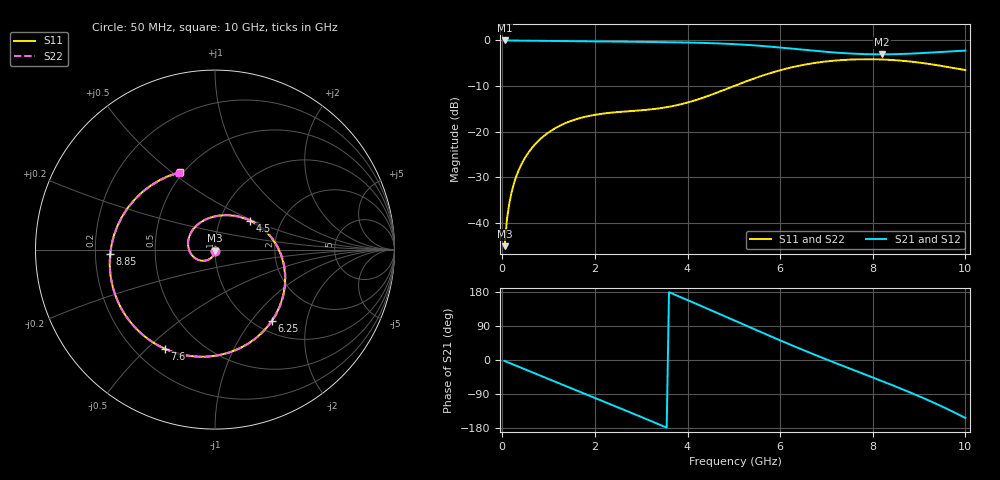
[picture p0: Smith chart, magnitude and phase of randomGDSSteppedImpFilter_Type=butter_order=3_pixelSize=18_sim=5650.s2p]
! freq	dB(S11)	phase(S11)	dB(S12)	phase(S12)
!  dB(S21)	phase(S21)	dB(S22)	phase(S22)
!S-par simulation data
#  GHz  S  DB  R 50
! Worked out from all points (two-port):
!   200 points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, 50 MHz to 10 GHz, reference 50 ohm
!   highest |S21| = 0.00 dB at 50 MHz (marker M1); lowest = -3.0 dB at 8.2 GHz (marker M2)
!   |S21| within 3 dB of the highest: start of sweep to 7.853 GHz; 8.522 GHz to end of sweep
!   lowest |S11| = -45.1 dB at 50 MHz (marker M3), VSWR 1.01, Z = 50 - j0.555 ohm
!   |S11| at or under -10 dB: start of sweep to 5.002 GHz
!   |S22| runs from -45.1 to -4.1 dB; largest |S21 - S12| = 0
!   S11 on the Smith chart (normalised r, x): 50 MHz: 1.00, -0.01; 4.5 GHz: 1.38, +0.48; 6.25 GHz: 1.19, -1.27; 7.6 GHz: 0.32, -0.57; 8.85 GHz: 0.26, -0.02; 10 GHz: 0.48, +0.53
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0.05  -45.11 -90.0  -0.00 -2.6  -0.00 -2.6  -45.11 -90.0
0.1  -39.25 -93.6  -0.01 -5.1  -0.01 -5.1  -39.25 -93.5
0.2  -33.33 -99.6  -0.02 -10.1  -0.02 -10.1  -33.33 -99.5
0.5  -25.58 -115.6  -0.05 -25.1  -0.05 -25.1  -25.58 -115.5
1.15  -19.20 -148.7  -0.12 -57.6  -0.12 -57.6  -19.20 -148.4
1.75  -16.83 -178.8  -0.19 -87.4  -0.19 -87.4  -16.83 -178.3
2.5  -15.70 143.4  -0.27 -124.9  -0.27 -124.9  -15.70 144.1
2.95  -15.36 120.4  -0.31 -147.7  -0.31 -147.7  -15.36 121.4
3.4  -14.88 97.2  -0.36 -170.7  -0.36 -170.7  -14.88 98.3
3.95  -13.75 68.7  -0.45 160.7  -0.45 160.7  -13.76 69.8
4.5  -11.96 40.0  -0.59 131.7  -0.59 131.7  -11.96 41.0
5.05  -9.81 11.0  -0.83 102.3  -0.83 102.3  -9.81 11.8
5.6  -7.78 -17.9  -1.20 72.9  -1.20 72.9  -7.78 -17.2
6.25  -5.89 -51.4  -1.79 38.9  -1.79 38.9  -5.89 -50.8
6.7  -5.01 -73.8  -2.23 16.2  -2.23 16.2  -5.01 -73.3
7.15  -4.45 -95.5  -2.63 -5.8  -2.63 -5.8  -4.45 -95.1
7.6  -4.17 -116.8  -2.91 -27.2  -2.91 -27.2  -4.16 -116.4
8.2  -4.18 -145.3  -3.05 -55.7  -3.05 -55.7  -4.18 -144.8
8.35  -4.25 -152.6  -3.04 -62.9  -3.04 -62.9  -4.25 -152.1
8.85  -4.67 -177.8  -2.88 -87.8  -2.88 -87.8  -4.67 -177.2
9.45  -5.53 148.9  -2.54 -120.1  -2.54 -120.1  -5.53 149.7
10  -6.50 114.3  -2.24 -152.9  -2.24 -152.9  -6.50 115.4
